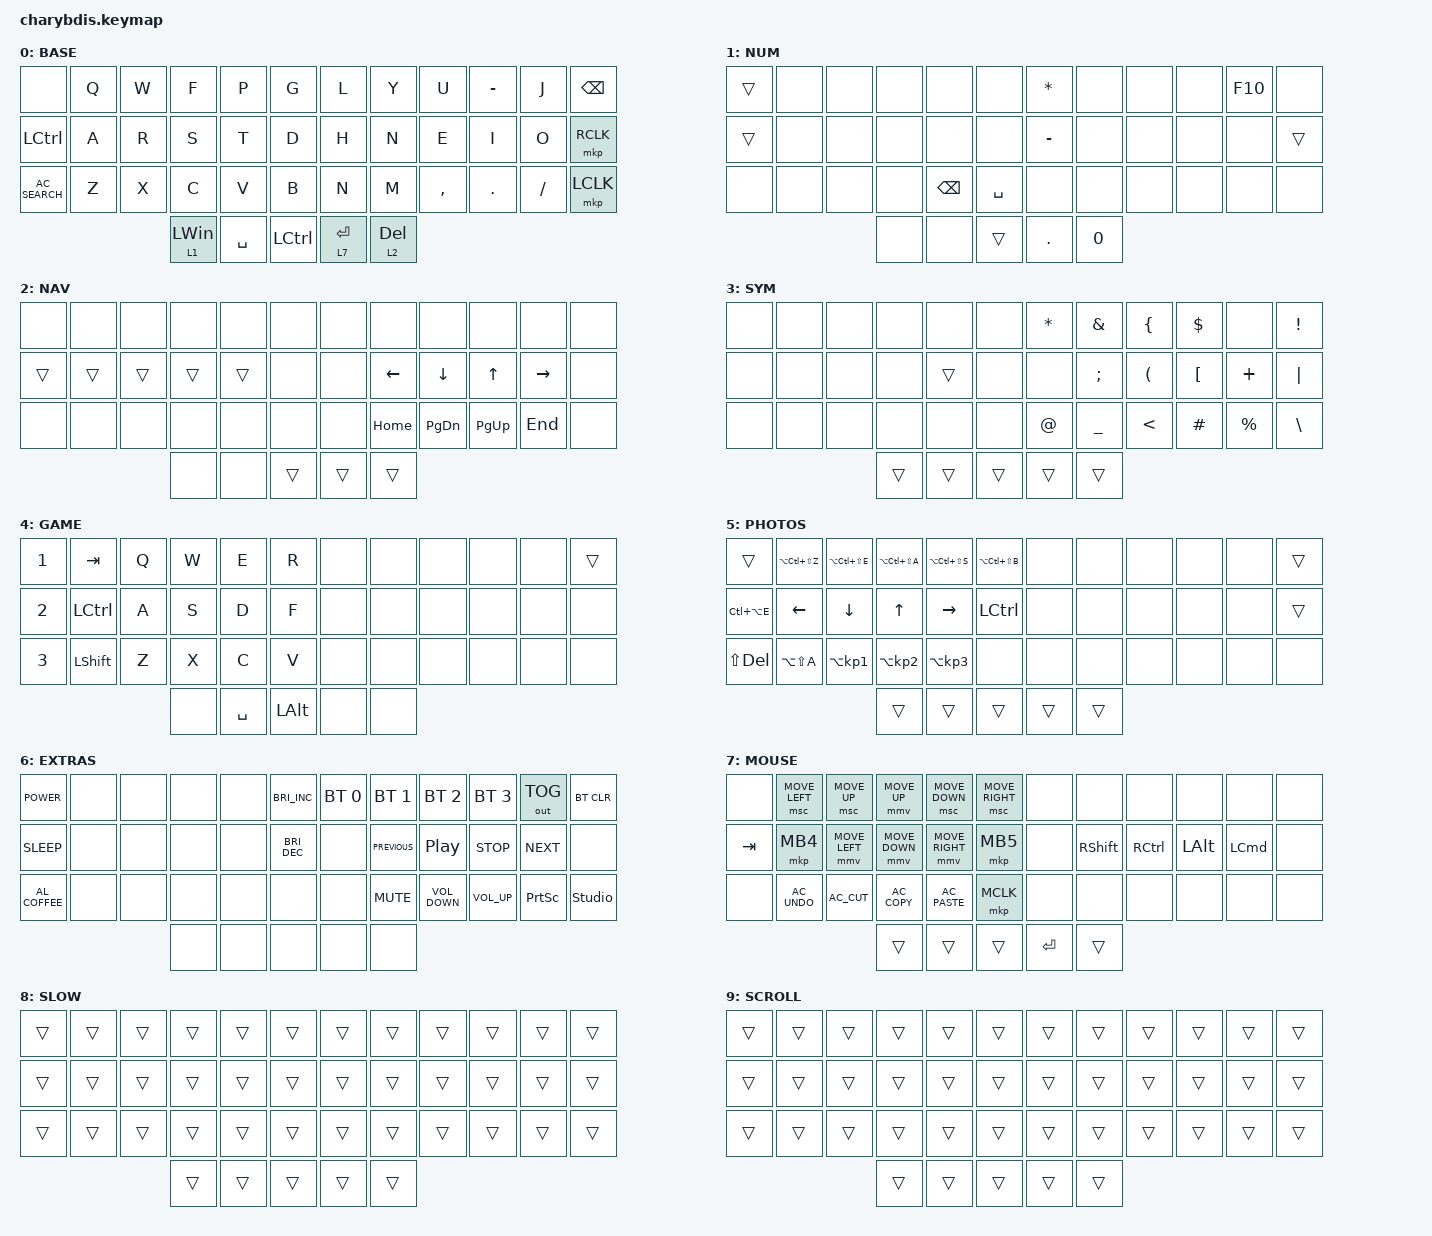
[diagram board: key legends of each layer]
#include <dt-bindings/zmk/mouse.h>
#include <behaviors/mouse_keys.dtsi>
#include "macros.dtsi"
#include "behaviors.dtsi"
#include "combos.dtsi"
#include <behaviors.dtsi>
#include <dt-bindings/zmk/bt.h>
#include <dt-bindings/zmk/keys.h>
#include <dt-bindings/zmk/outputs.h>
#include <dt-bindings/zmk/pointing.h>

/ {
    /* input config for mouse move mode */

    trackball_listener {
        compatible = "zmk,input-behavior-listener";
        device = <&vtrackball>;
        layers = <0 2 7>;
        evt-type = <INPUT_EV_REL>;
        x-input-code = <INPUT_REL_X>;
        y-input-code = <INPUT_REL_Y>;
        scale-multiplier = <4>;
        scale-divisor = <5>;

        // bindings = <&ib_toggle_layer 7>;
    };

    /* input config for snipe mode */

    trackball_snipe_listener {
        compatible = "zmk,input-behavior-listener";
        device = <&vtrackball>;
        layers = <8>;
        evt-type = <INPUT_EV_REL>;
        x-input-code = <INPUT_REL_X>;
        y-input-code = <INPUT_REL_Y>;
        scale-multiplier = <1>;
        scale-divisor = <6>;
    };

    /* input config for mouse scroll mode */

    trackball_scroll_listener {
        compatible = "zmk,input-behavior-listener";
        device = <&vtrackball>;
        layers = <9>;
        evt-type = <INPUT_EV_REL>;
        x-input-code = <INPUT_REL_MISC>;
        y-input-code = <INPUT_REL_WHEEL>;
        y-invert;
        bindings = <&ib_wheel_scaler 1 14>;
    };

    /* define a resolution down scaler only for INPUT_REL_WHEEL */

    ib_wheel_scaler: ib_wheel_scaler {
        compatible = "zmk,input-behavior-scaler";
        #binding-cells = <2>;
        evt-type = <INPUT_EV_REL>;
        input-code = <INPUT_REL_WHEEL>;
    };

    /* adjust cooldown waiting period for mouse key layer after activated */

    ib_toggle_layer: ib_toggle_layer {
        compatible = "zmk,input-behavior-tog-layer";
        #binding-cells = <1>;
        time-to-live-ms = <750>;
    };

    // ╭──────┬──────┬──────┬──────┬──────┬──────╮  ╭──────┬──────┬──────┬──────┬──────┬──────╮
    //    00     01     02     03    04      05        06     07     08     09     10     11
    // ├──────┼──────┼──────┼──────┼──────┼──────┤  ├──────┼──────┼──────┼──────┼──────┼──────┤
    //    12     13     14     15    16      17        18     19     20     21     22     23
    // ├──────┼──────┼──────┼──────┼──────┼──────┤  ├──────┼──────┼──────┼──────┼──────┼──────┤
    //    24     25     26     27    28      29        30     31     32     33     34     35
    // ╰──────┴──────┴──────┼──────┼──────┼──────┤  ├──────┼──────┼──────┴──────┴──────┴──────╯
    //                         36     37     38        39     40
    //                      ╰──────┴──────┴──────╯  ╰──────┴──────╯
    // #define BASE    0
    // #define NUM     1
    // #define NAV     2
    // #define SYM     3
    // #define GAME    4
    // #define PHOTOS  5
    // #define EXTRAS  6
    // #define MOUSE   7
    // #define SLOW    8
    // #define SCROLL  9

    keymap {
        compatible = "zmk,keymap";

        BASE {
            bindings = <
&none            &kp Q  &kp W  &kp F           &kp P      &kp G        &kp L         &kp Y         &kp U      &kp MINUS   &kp J      &kp BACKSPACE
&kp LCTRL        &kp A  &kp R  &kp S           &kp T      &kp D        &kp H         &kp N         &kp E      &kp I       &kp O      &mkp RCLK
&kp C_AC_SEARCH  &kp Z  &kp X  &kp C           &kp V      &kp B        &kp N         &kp M         &kp COMMA  &kp PERIOD  &kp SLASH  &mkp LCLK
                               &lt 1 LEFT_WIN  &kp SPACE  &kp LCTRL    &lt 7 RETURN  &lt 2 DELETE
            >;
        };

        NUM {
            bindings = <
&trans  &none  &none  &none  &none          &none        &kp ASTRK  &none   &none  &none  &kp F10  &none
&trans  &none  &none  &none  &none          &none        &kp MINUS  &none   &none  &none  &none    &trans
&none   &none  &none  &none  &kp BACKSPACE  &kp SPACE    &none      &none   &none  &none  &none    &none
                      &none  &none          &trans       &kp DOT    &kp N0
            >;
        };

        NAV {
            bindings = <
&none   &none   &none   &none   &none   &none     &none   &none           &none      &none      &none            &none
&trans  &trans  &trans  &trans  &trans  &none     &none   &kp LEFT_ARROW  &kp DOWN   &kp UP     &kp RIGHT_ARROW  &none
&none   &none   &none   &none   &none   &none     &none   &kp HOME        &kp PG_DN  &kp PG_UP  &kp END          &none
                        &none   &none   &trans    &trans  &trans
            >;
        };

        SYM {
            bindings = <
&none  &none  &none  &none   &none   &none     &kp ASTRK    &kp AMPS        &kp LEFT_BRACE  &kp DLLR  &none      &kp EXCL
&none  &none  &none  &none   &trans  &none     &none        &kp SEMICOLON   &kp LPAR        &kp LBKT  &kp PLUS   &kp PIPE
&none  &none  &none  &none   &none   &none     &kp AT_SIGN  &kp UNDERSCORE  &kp LT          &kp HASH  &kp PRCNT  &kp BSLH
                     &trans  &trans  &trans    &trans       &trans
            >;
        };

        GAME {
            bindings = <
&kp N1  &kp TAB    &kp Q  &kp W  &kp E      &kp R           &none  &none  &none  &none  &none  &trans
&kp N2  &kp LCTRL  &kp A  &kp S  &kp D      &kp F           &none  &none  &none  &none  &none  &none
&kp N3  &kp LSHFT  &kp Z  &kp X  &kp C      &kp V           &none  &none  &none  &none  &none  &none
                          &none  &kp SPACE  &kp LEFT_ALT    &none  &none
            >;
        };

        PHOTOS {
            bindings = <
&trans          &kp LA(LC(LS(Z)))  &kp LA(LC(LS(E)))  &kp LA(LC(LS(A)))  &kp LA(LC(LS(S)))  &kp LA(LC(LS(B)))    &none   &none   &none  &none  &none  &trans
&kp LC(LA(E))   &kp LEFT           &kp DOWN           &kp UP             &kp RIGHT          &kp LCTRL            &none   &none   &none  &none  &none  &trans
&kp LS(DELETE)  &kp LA(LS(A))      &kp LA(KP_N1)      &kp LA(KP_N2)      &kp LA(KP_N3)      &none                &none   &none   &none  &none  &none  &none
                                                      &trans             &trans             &trans               &trans  &trans
            >;
        };

        EXTRAS {
            bindings = <
&kp C_POWER      &none  &none  &none  &none  &kp C_BRIGHTNESS_INC    &bt BT_SEL 0  &bt BT_SEL 1    &bt BT_SEL 2       &bt BT_SEL 3     &out OUT_TOG     &bt BT_CLR
&kp C_SLEEP      &none  &none  &none  &none  &kp C_BRIGHTNESS_DEC    &none         &kp C_PREVIOUS  &kp C_PLAY_PAUSE   &kp C_STOP       &kp C_NEXT       &none
&kp C_AL_COFFEE  &none  &none  &none  &none  &none                   &none         &kp K_MUTE      &kp C_VOLUME_DOWN  &kp C_VOLUME_UP  &kp PRINTSCREEN  &studio_unlock
                               &none  &none  &none                   &none         &none
            >;
        };

        MOUSE {
            bindings = <
&none    &msc MOVE_LEFT  &msc MOVE_UP    &mmv MOVE_UP    &msc MOVE_DOWN   &msc MOVE_RIGHT    &none       &none            &none      &none         &none     &none
&kp TAB  &mkp MB4        &mmv MOVE_LEFT  &mmv MOVE_DOWN  &mmv MOVE_RIGHT  &mkp MB5           &none       &kp RIGHT_SHIFT  &kp RCTRL  &kp LEFT_ALT  &kp LCMD  &none
&none    &kp C_AC_UNDO   &kp C_AC_CUT    &kp C_AC_COPY   &kp C_AC_PASTE   &mkp MCLK          &none       &none            &none      &none         &none     &none
                                         &trans          &trans           &trans             &kp RETURN  &trans
            >;
        };

        SLOW {
            bindings = <
&trans  &trans  &trans  &trans  &trans  &trans    &trans  &trans  &trans  &trans  &trans  &trans
&trans  &trans  &trans  &trans  &trans  &trans    &trans  &trans  &trans  &trans  &trans  &trans
&trans  &trans  &trans  &trans  &trans  &trans    &trans  &trans  &trans  &trans  &trans  &trans
                        &trans  &trans  &trans    &trans  &trans
            >;
        };

        SCROLL {
            bindings = <
&trans  &trans  &trans  &trans  &trans  &trans    &trans  &trans  &trans  &trans  &trans  &trans
&trans  &trans  &trans  &trans  &trans  &trans    &trans  &trans  &trans  &trans  &trans  &trans
&trans  &trans  &trans  &trans  &trans  &trans    &trans  &trans  &trans  &trans  &trans  &trans
                        &trans  &trans  &trans    &trans  &trans
            >;
        };
    };
};
